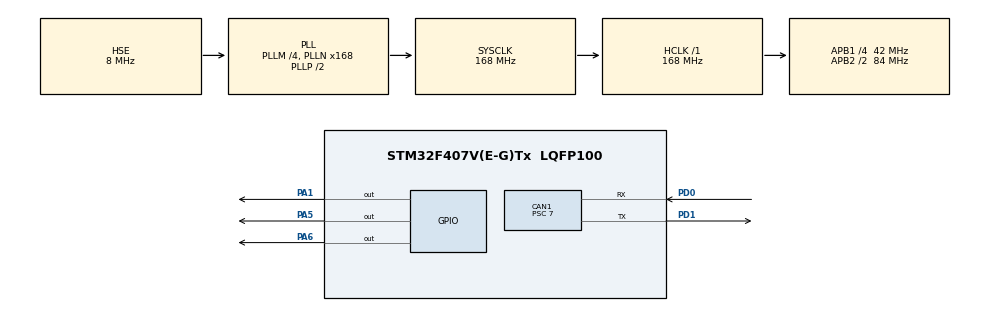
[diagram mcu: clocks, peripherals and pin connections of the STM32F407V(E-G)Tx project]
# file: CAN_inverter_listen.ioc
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CAN1.BS1=CAN_BS1_5TQ
CAN1.BS2=CAN_BS2_6TQ
CAN1.CalculateBaudRate=500000
CAN1.CalculateTimeBit=1999.99
CAN1.CalculateTimeQuantum=166.66666666666669
CAN1.Prescaler=7
Mcu.Family=STM32F4
Mcu.Name=STM32F407V(E-G)Tx
Mcu.Package=LQFP100
NVIC.CAN1_RX0_IRQn=true\:0\:0\:false\:false\:true\:true\:true
NVIC.PriorityGroup=NVIC_PRIORITYGROUP_4
NVIC.TIM2_IRQn=true\:0\:0\:false\:false\:true\:true\:true
PA1.Signal=GPIO_Output
PA5.Signal=GPIO_Output
PA6.Signal=GPIO_Output
PD0.Mode=CAN_Activate
PD0.Signal=CAN1_RX
PD1.Mode=CAN_Activate
PD1.Signal=CAN1_TX
PH0-OSC_IN.Mode=HSE-External-Oscillator
PH0-OSC_IN.Signal=RCC_OSC_IN
PH1-OSC_OUT.Mode=HSE-External-Oscillator
PH1-OSC_OUT.Signal=RCC_OSC_OUT
ProjectManager.HeapSize=0x200
ProjectManager.StackSize=0x400
ProjectManager.TargetToolchain=MDK-ARM V5.27
RCC.48MHZClocksFreq_Value=84000000
RCC.AHBFreq_Value=168000000
RCC.APB1CLKDivider=RCC_HCLK_DIV4
RCC.APB1Freq_Value=42000000
RCC.APB1TimFreq_Value=84000000
RCC.APB2CLKDivider=RCC_HCLK_DIV2
RCC.APB2Freq_Value=84000000
RCC.APB2TimFreq_Value=168000000
RCC.CortexFreq_Value=168000000
RCC.HCLKFreq_Value=168000000
RCC.HSE_VALUE=8000000
RCC.HSI_VALUE=16000000
RCC.LSE_VALUE=32768
RCC.PLLM=4
RCC.PLLN=168
RCC.PLLSourceVirtual=RCC_PLLSOURCE_HSE
RCC.SYSCLKFreq_VALUE=168000000
RCC.SYSCLKSource=RCC_SYSCLKSOURCE_PLLCLK
RCC.VCOOutputFreq_Value=336000000
TIM2.Period=100
TIM2.Prescaler=42000
TIM2.TIM_MasterOutputTrigger=TIM_TRGO_UPDATE
VP_TIM2_VS_ClockSourceINT.Mode=Internal
board=custom

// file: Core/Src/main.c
/* USER CODE BEGIN Header */
/**
  ******************************************************************************
  * @file           : main.c
  * @brief          : Main program body
  ******************************************************************************
  * @attention
  *
  * <h2><center>&copy; Copyright (c) 2021 STMicroelectronics.
  * All rights reserved.</center></h2>
  *
  * This software component is licensed by ST under BSD 3-Clause license,
  * the "License"; You may not use this file except in compliance with the
  * License. You may obtain a copy of the License at:
  *                        opensource.org/licenses/BSD-3-Clause
  *
  ******************************************************************************
  */
/* USER CODE END Header */
#include "main.h"
#include "can.h"
#include "tim.h"
#include "gpio.h"

/* USER CODE BEGIN PV */
//Tx and Rx structure
static CAN_TxHeaderTypeDef TxMessage;
static CAN_RxHeaderTypeDef RxMessage;

//Rx Txdata
uint8_t TxData[8]={0};
uint32_t TxMailbox;
uint8_t RxData[8]={0};
uint8_t RxData_R[8]={0};
uint8_t RxData_L[8]={0};

//address
uint16_t OwnID=0x123;
uint16_t RemoteID =0x0A0;
uint16_t Received_ID;
uint16_t clear_ID;
/* USER CODE END PV */

void SystemClock_Config(void);
/* USER CODE BEGIN PFP */
void CAN_filterConfig(void);
void CAN_Txsetup(void);
/* USER CODE END PFP */

int main(void)
{

  /* MCU Configuration--------------------------------------------------------*/

  /* Reset of all peripherals, Initializes the Flash interface and the Systick. */
  HAL_Init();

  /* Configure the system clock */
  SystemClock_Config();

  /* Initialize all configured peripherals */
  MX_GPIO_Init();
  MX_CAN1_Init();
  MX_TIM2_Init();
  /* USER CODE BEGIN 2 */
	CAN_filterConfig();
	CAN_Txsetup();
	HAL_TIM_Base_Start_IT(&htim2);
  /* USER CODE END 2 */

  /* Infinite loop */
  while (1)
  {

  }
}

void SystemClock_Config(void)
{
  RCC_OscInitTypeDef RCC_OscInitStruct = {0};
  RCC_ClkInitTypeDef RCC_ClkInitStruct = {0};

  /** Configure the main internal regulator output voltage
  */
  __HAL_RCC_PWR_CLK_ENABLE();
  __HAL_PWR_VOLTAGESCALING_CONFIG(PWR_REGULATOR_VOLTAGE_SCALE1);
  /** Initializes the RCC Oscillators according to the specified parameters
  * in the RCC_OscInitTypeDef structure.
  */
  RCC_OscInitStruct.OscillatorType = RCC_OSCILLATORTYPE_HSE;
  RCC_OscInitStruct.HSEState = RCC_HSE_ON;
  RCC_OscInitStruct.PLL.PLLState = RCC_PLL_ON;
  RCC_OscInitStruct.PLL.PLLSource = RCC_PLLSOURCE_HSE;
  RCC_OscInitStruct.PLL.PLLM = 4;
  RCC_OscInitStruct.PLL.PLLN = 168;
  RCC_OscInitStruct.PLL.PLLP = RCC_PLLP_DIV2;
  RCC_OscInitStruct.PLL.PLLQ = 4;
  if (HAL_RCC_OscConfig(&RCC_OscInitStruct) != HAL_OK)
  {
    Error_Handler();
  }
  /** Initializes the CPU, AHB and APB buses clocks
  */
  RCC_ClkInitStruct.ClockType = RCC_CLOCKTYPE_HCLK|RCC_CLOCKTYPE_SYSCLK
                              |RCC_CLOCKTYPE_PCLK1|RCC_CLOCKTYPE_PCLK2;
  RCC_ClkInitStruct.SYSCLKSource = RCC_SYSCLKSOURCE_PLLCLK;
  RCC_ClkInitStruct.AHBCLKDivider = RCC_SYSCLK_DIV1;
  RCC_ClkInitStruct.APB1CLKDivider = RCC_HCLK_DIV4;
  RCC_ClkInitStruct.APB2CLKDivider = RCC_HCLK_DIV2;

  if (HAL_RCC_ClockConfig(&RCC_ClkInitStruct, FLASH_LATENCY_5) != HAL_OK)
  {
    Error_Handler();
  }
}

/* USER CODE BEGIN 4 */
void HAL_TIM_PeriodElapsedCallback(TIM_HandleTypeDef *htim)
{
  /* Prevent unused argument(s) compilation warning */
  UNUSED(htim);

  /* NOTE : This function should not be modified, when the callback is needed,
            the HAL_TIM_PeriodElapsedCallback could be implemented in the user file
   */
	HAL_GPIO_WritePin(GPIOA,GPIO_PIN_1,GPIO_PIN_SET);
}
void CAN_filterConfig(void){
	CAN_FilterTypeDef filterConfig;

	filterConfig.FilterBank=0;
	filterConfig.FilterActivation=ENABLE;
	filterConfig.FilterFIFOAssignment=CAN_RX_FIFO0;
	filterConfig.FilterIdHigh=0x0000;
	filterConfig.FilterIdLow=0x0000;
	filterConfig.FilterMaskIdHigh=0x0000;
	filterConfig.FilterMaskIdLow=0x0000;
	filterConfig.FilterMode=CAN_FILTERMODE_IDMASK;
	filterConfig.FilterScale= CAN_FILTERSCALE_32BIT;
	filterConfig.SlaveStartFilterBank=14;

	if(HAL_CAN_ConfigFilter(&hcan1,&filterConfig)!=HAL_OK){
		Error_Handler();
	}

	if(HAL_CAN_ActivateNotification(&hcan1,CAN_IT_RX_FIFO0_MSG_PENDING)){
		Error_Handler();
	}		//enable interrupt

}
void CAN_Txsetup(){
		if(HAL_CAN_Start(&hcan1)!=HAL_OK){
		Error_Handler();
		}

		TxMessage.StdId=RemoteID;
		TxMessage.ExtId=0x01;
		TxMessage.RTR=CAN_RTR_DATA;
		TxMessage.IDE=CAN_ID_STD;
		TxMessage.DLC=2;
		TxMessage.TransmitGlobalTime=DISABLE;   //time trigger must be turned ON

		TxData[0]=0xAC;
		TxData[1]=0x01;
		HAL_GPIO_WritePin(GPIOA,GPIO_PIN_6,GPIO_PIN_SET);
}

void HAL_CAN_RxFifo0MsgPendingCallback(CAN_HandleTypeDef *hcan){
	if(HAL_CAN_GetRxMessage(hcan,CAN_RX_FIFO0,&RxMessage,RxData)!=HAL_OK){
		Error_Handler();
	}
	Received_ID=RxMessage.StdId;
	if(Received_ID == 0xC0){
		for(int i=0;i<8;++i){
			RxData_R[i]=RxData[i];
		}
	}

	if(Received_ID == 0xF0){
		for(int i=0;i<8;++i){
			RxData_L[i]=RxData[i];
		}
	}
	if(Received_ID!=0xC0&&Received_ID!=0xF0){
		clear_ID=Received_ID;
	}
	HAL_GPIO_TogglePin(GPIOA,GPIO_PIN_1);
}
/* USER CODE END 4 */

void Error_Handler(void)
{
}

/************************ (C) COPYRIGHT STMicroelectronics *****END OF FILE****/
